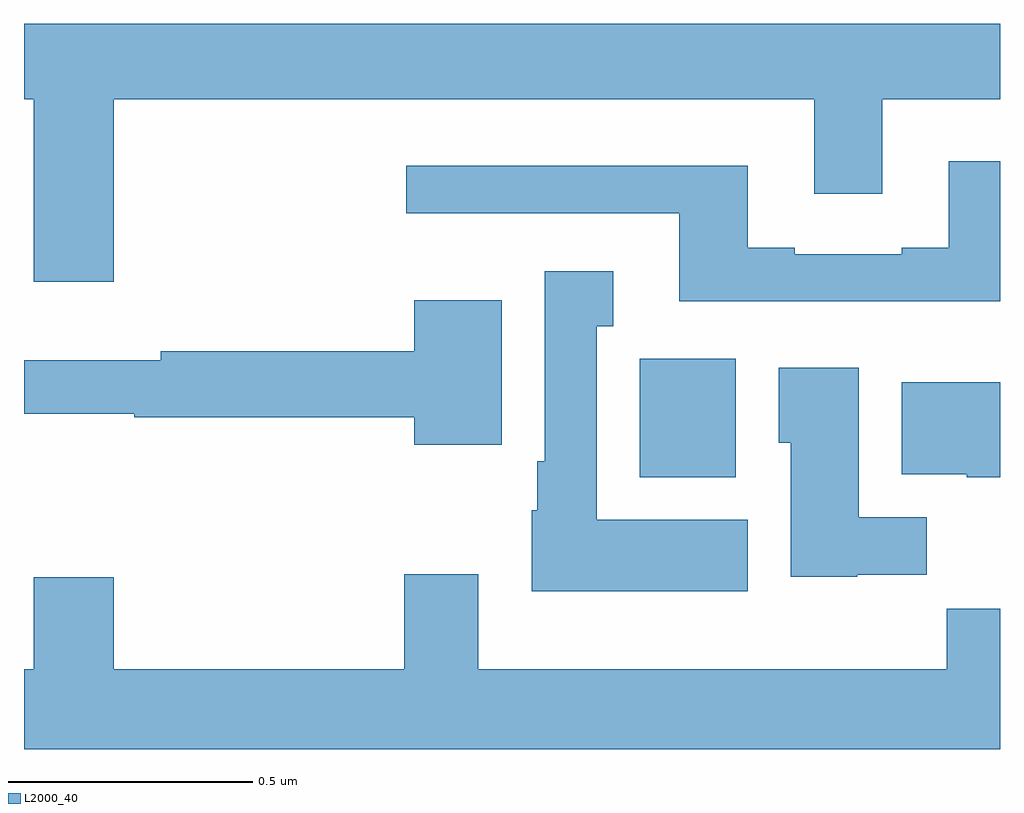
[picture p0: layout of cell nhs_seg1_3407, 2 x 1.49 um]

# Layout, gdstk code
import gdstk
lib = gdstk.Library(unit=1e-6, precision=1e-09)
def R(c, l, rs):  # rectangles x0, y0, x1, y1
    for r in rs: c.add(gdstk.rectangle(r[:2], r[2:], *l))
def P(c, l, *ps):  # polygons
    for p in ps: c.add(gdstk.Polygon(p, *l))
L2000_40 = (2000, 40)

nhs_seg1_3407 = lib.new_cell('nhs_seg1_3407')
R(nhs_seg1_3407, L2000_40, [(154.262,572.27,154.459,572.512)])
P(nhs_seg1_3407, L2000_40, [(153.184,573.044),(154.619,573.044),(154.619,572.85),(154.759,572.85),(154.759,573.044),(155,573.044),(155,573.199),(153,573.199),(153,573.044),(153.02,573.044),(153.02,572.67),(153.184,572.67)],
  [(155,572.917),(154.895,572.917),(154.895,572.74),(154.799,572.74),(154.799,572.727),(154.579,572.727),(154.579,572.74),(154.483,572.74),(154.483,572.908),(153.783,572.908),(153.783,572.811),(154.343,572.811),(154.343,572.63),(155,572.63)],
  [(154.483,572.182),(154.174,572.182),(154.174,572.579),(154.207,572.579),(154.207,572.692),(154.067,572.692),(154.067,572.302),(154.052,572.302),(154.052,572.202),(154.04,572.202),(154.04,572.036),(154.483,572.036)],
  [(153.979,572.632),(153.8,572.632),(153.8,572.528),(153.28,572.528),(153.28,572.509),(153,572.509),(153,572.4),(153.226,572.4),(153.226,572.392),(153.8,572.392),(153.8,572.336),(153.979,572.336)],
  [(154.707,572.07),(154.85,572.07),(154.85,572.188),(154.711,572.188),(154.711,572.494),(154.547,572.494),(154.547,572.34),(154.571,572.34),(154.571,572.066),(154.707,572.066)],
  [(155,572.464),(154.799,572.464),(154.799,572.276),(154.932,572.276),(154.932,572.27),(155,572.27)],
  [(155,572),(154.891,572),(154.891,571.876),(153.931,571.876),(153.931,572.071),(153.779,572.071),(153.779,571.876),(153.184,571.876),(153.184,572.065),(153.02,572.065),(153.02,571.876),(153,571.876),(153,571.712),(155,571.712)])

lib.write_gds('nhs_seg1_3407.gds')
